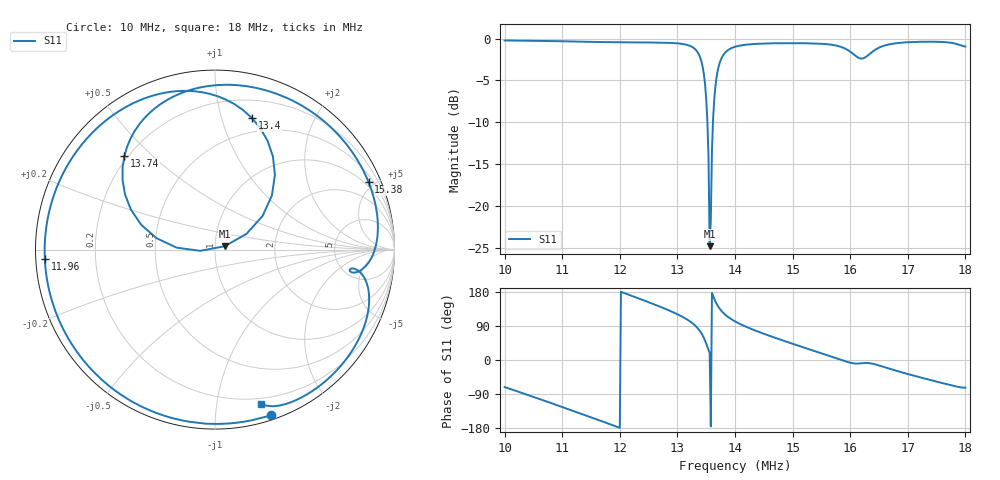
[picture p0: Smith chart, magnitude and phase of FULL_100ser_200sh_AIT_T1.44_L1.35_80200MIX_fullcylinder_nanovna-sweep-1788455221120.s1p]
! NanoVNA Web complex sweep
! Processing: original sample grid, no browser smoothing
# Hz S RI R 50
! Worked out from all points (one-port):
!   401 points, 10 MHz to 18 MHz, reference 50 ohm
!   lowest |S11| = -24.8 dB at 13.56 MHz (marker M1), VSWR 1.12, Z = 55.7 + j2.11 ohm
!   |S11| at or under -10 dB: 13.52 MHz to 13.62 MHz (96.59 kHz wide, 0.712 % of centre)
!   S11 on the Smith chart (normalised r, x): 10 MHz: 0.04, -1.39; 11.96 MHz: 0.03, -0.03; 13.4 MHz: 0.36, +1.25; 13.74 MHz: 0.19, +0.41; 15.38 MHz: 0.79, +4.65; 18 MHz: 0.15, -1.34
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1e7  0.3097 -0.9227
1.05e7  -0.1241 -0.9619
1.1e7  -0.538 -0.7987
1.15e7  -0.8368 -0.4597
1.196e7  -0.948 -0.0539
1.2e7  -0.9491 -0.0167
1.252e7  -0.8306 0.4541
1.3e7  -0.4784 0.8042
1.326e7  -0.111 0.8819
1.34e7  0.2054 0.7335
1.348e7  0.3337 0.4156
1.354e7  0.1755 0.0877
1.356e7  0.0543 0.0189
1.36e7  -0.2143 0.011
1.366e7  -0.4684 0.2224
1.374e7  -0.5052 0.5197
1.386e7  -0.3668 0.7592
1.4e7  -0.1844 0.8733
1.442e7  0.2602 0.8936
1.5e7  0.6887 0.6374
1.538e7  0.856 0.3745
1.572e7  0.9071 0.1017
1.6e7  0.8264 -0.1041
1.636e7  0.8104 -0.128
1.662e7  0.8573 -0.3132
1.7e7  0.7584 -0.5718
1.758e7  0.475 -0.8273
1.8e7  0.259 -0.858
